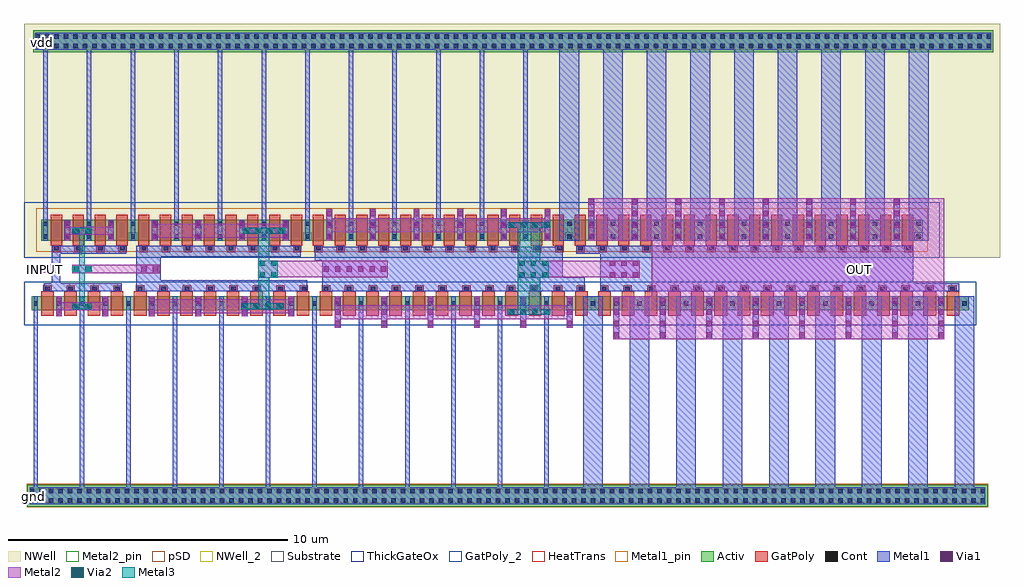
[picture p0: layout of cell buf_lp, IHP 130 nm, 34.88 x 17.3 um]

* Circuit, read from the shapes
.subckt buf_lp INPUT OUT gnd vdd
XM1 n1 INPUT gnd gnd sg13_hv_nmos w=0.5u l=0.45u m=4
XM2 n2 n1 gnd gnd sg13_hv_nmos w=0.5u l=0.45u m=8
XM3 n3 n2 gnd gnd sg13_hv_nmos w=0.5u l=0.45u m=12
XM4 OUT n3 gnd gnd sg13_hv_nmos w=0.5u l=0.45u m=16
XM5 n1 INPUT vdd vdd sg13_hv_pmos w=0.75u l=0.4u m=4
XM6 n2 n1 vdd vdd sg13_hv_pmos w=0.75u l=0.4u m=8
XM7 n3 n2 vdd vdd sg13_hv_pmos w=0.75u l=0.4u m=12
XM8 OUT n3 vdd vdd sg13_hv_pmos w=0.75u l=0.4u m=16
.ends

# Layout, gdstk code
from math import pi, radians
import gdstk
lib = gdstk.Library(unit=1e-6, precision=1e-09)
def R(c, l, rs):  # rectangles x0, y0, x1, y1
    for r in rs: c.add(gdstk.rectangle(r[:2], r[2:], *l))
def A(c, l, x, y, w, h, nx, ny, dx, dy):  # array of equal rectangles
    R(c, l, [(x+i*dx, y+j*dy, x+i*dx+w, y+j*dy+h) for i in range(nx) for j in range(ny)])
Activ = (1, 0)
GatPoly = (5, 0)
GatPoly_2 = (5, 2)
Cont = (6, 0)
Metal1 = (8, 0)
Metal1_pin = (8, 2)
Metal2 = (10, 0)
Metal2_pin = (10, 2)
pSD = (14, 0)
Via1 = (19, 0)
Via2 = (29, 0)
Metal3 = (30, 0)
NWell = (31, 0)
NWell_2 = (31, 2)
Substrate = (40, 0)
ThickGateOx = (44, 0)
HeatTrans = (51, 0)

pmoshv_2 = lib.new_cell('pmosHV$2')
A(pmoshv_2, Activ, 0, 0, 0.3, 0.3, 13, 1, 0.78, 0)
R(pmoshv_2, Activ, [(0,0,9.66,0.75)])
A(pmoshv_2, GatPoly, 0.34, -0.18, 0.4, 1.11, 12, 1, 0.78, 0)
R(pmoshv_2, GatPoly_2, [(0.34,-0.18,0.74,0.93)])
A(pmoshv_2, Cont, 0.07, 0.07, 0.16, 0.16, 13, 2, 0.78, 0.45)
A(pmoshv_2, Metal1, 0.07, 0, 0.16, 0.75, 13, 1, 0.78, 0)
R(pmoshv_2, Metal1_pin, [(0.07,0,0.23,0.75), (0.85,0,1.01,0.75)])
R(pmoshv_2, pSD, [(-0.18,-0.4,9.84,1.15)])
R(pmoshv_2, NWell, [(-0.62,-0.62,10.28,1.37)])
R(pmoshv_2, Substrate, [(9.36,0,9.66,0.3)])
R(pmoshv_2, ThickGateOx, [(-0.62,-0.62,10.28,1.37)])
A(pmoshv_2, HeatTrans, 0.34, -0.18, 0.4, 1.11, 12, 1, 0.78, 0)
pmoshv_2.add(gdstk.Label('pmosHV', (0.54,0.375), layer=63, texttype=0))
pmoshv_2.add(gdstk.Label('pmos', (0.54,0.375), layer=51, texttype=0))
pmoshv_2.add(gdstk.Label('pmos', (1.32,0.375), layer=51, texttype=0))
pmoshv_2.add(gdstk.Label('pmos', (2.1,0.375), layer=51, texttype=0))
pmoshv_2.add(gdstk.Label('pmos', (2.88,0.375), layer=51, texttype=0))
pmoshv_2.add(gdstk.Label('pmos', (3.66,0.375), layer=51, texttype=0))
pmoshv_2.add(gdstk.Label('pmos', (4.44,0.375), layer=51, texttype=0))
pmoshv_2.add(gdstk.Label('pmos', (5.22,0.375), layer=51, texttype=0))
pmoshv_2.add(gdstk.Label('pmos', (6,0.375), layer=51, texttype=0))
pmoshv_2.add(gdstk.Label('pmos', (6.78,0.375), layer=51, texttype=0))
pmoshv_2.add(gdstk.Label('pmos', (7.56,0.375), layer=51, texttype=0))
pmoshv_2.add(gdstk.Label('pmos', (8.34,0.375), layer=51, texttype=0))
pmoshv_2.add(gdstk.Label('pmos', (9.12,0.375), layer=51, texttype=0))

ptap1_9 = lib.new_cell('ptap1$9')
R(ptap1_9, Activ, [(0,0,34.32,0.78)])
A(ptap1_9, Cont, 0.08, 0.14, 0.16, 0.16, 101, 2, 0.34, 0.34)
R(ptap1_9, Metal1, [(0.08,0.09,34.24,0.69), (0.08,0.14,34.24,0.64)])
R(ptap1_9, Metal1_pin, [(0.08,0.14,34.24,0.64)])
R(ptap1_9, pSD, [(-0.03,-0.03,34.35,0.81)])
R(ptap1_9, Substrate, [(0,0,34.32,0.78)])
ptap1_9.add(gdstk.Label('sub!', (17.16,0.01), layer=63, texttype=0))
ptap1_9.add(gdstk.Label('sub!', (17.16,0.01), layer=40, texttype=0))

via_8_1 = lib.new_cell('Via$8$1')
R(via_8_1, Metal2, [(-0.76,-0.1,0.76,0.1)])
A(via_8_1, Via2, -0.71, -0.095, 0.19, 0.19, 4, 1, 0.41, 0)
R(via_8_1, Metal3, [(-0.76,-0.1,0.76,0.1)])

via_15 = lib.new_cell('Via$15')
R(via_15, GatPoly, [(-0.15,-0.15,0.15,0.15)])
R(via_15, Cont, [(-0.08,-0.08,0.08,0.08)])
R(via_15, Metal1, [(-0.13,-0.08,0.13,0.08)])

via_13 = lib.new_cell('Via$13')
R(via_13, Metal2, [(-0.35,-0.305,0.35,0.305)])
R(via_13, Via2, [(-0.3,-0.3,-0.11,-0.11), (0.11,-0.3,0.3,-0.11), (-0.3,0.11,-0.11,0.3), (0.11,0.11,0.3,0.3)])
R(via_13, Metal3, [(-0.35,-0.305,0.35,0.305)])

via_12 = lib.new_cell('Via$12')
R(via_12, Metal1, [(-0.555,-0.31,0.555,0.31)])
R(via_12, Metal2, [(-0.555,-0.305,0.555,0.305)])
A(via_12, Via1, -0.505, -0.3, 0.19, 0.19, 3, 2, 0.41, 0.41)

via_14 = lib.new_cell('Via$14')
R(via_14, Metal2, [(-0.555,-0.305,0.555,0.305)])
A(via_14, Via2, -0.505, -0.3, 0.19, 0.19, 3, 2, 0.41, 0.41)
R(via_14, Metal3, [(-0.555,-0.305,0.555,0.305)])

nmoshv_1 = lib.new_cell('nmosHV$1')
A(nmoshv_1, Activ, 0, 0, 0.3, 0.3, 13, 1, 0.83, 0)
R(nmoshv_1, Activ, [(0,0,10.26,0.5)])
A(nmoshv_1, GatPoly, 0.34, -0.18, 0.45, 0.86, 12, 1, 0.83, 0)
R(nmoshv_1, GatPoly_2, [(0.34,-0.18,0.79,0.68)])
A(nmoshv_1, Cont, 0.07, 0.17, 0.16, 0.16, 13, 1, 0.83, 0)
A(nmoshv_1, Metal1, 0.07, 0, 0.16, 0.5, 13, 1, 0.83, 0)
R(nmoshv_1, Metal1_pin, [(0.07,0,0.23,0.5), (0.9,0,1.06,0.5)])
R(nmoshv_1, ThickGateOx, [(-0.27,-0.52,10.53,1.02)])
A(nmoshv_1, HeatTrans, 0.34, -0.18, 0.45, 0.86, 12, 1, 0.83, 0)
nmoshv_1.add(gdstk.Label('nmosHV', (0.565,0.25), layer=63, texttype=0))
nmoshv_1.add(gdstk.Label('nmosHV', (0.565,0.25), layer=51, texttype=0))
nmoshv_1.add(gdstk.Label('nmosHV', (1.395,0.25), layer=51, texttype=0))
nmoshv_1.add(gdstk.Label('nmosHV', (2.225,0.25), layer=51, texttype=0))
nmoshv_1.add(gdstk.Label('nmosHV', (3.055,0.25), layer=51, texttype=0))
nmoshv_1.add(gdstk.Label('nmosHV', (3.885,0.25), layer=51, texttype=0))
nmoshv_1.add(gdstk.Label('nmosHV', (4.715,0.25), layer=51, texttype=0))
nmoshv_1.add(gdstk.Label('nmosHV', (5.545,0.25), layer=51, texttype=0))
nmoshv_1.add(gdstk.Label('nmosHV', (6.375,0.25), layer=51, texttype=0))
nmoshv_1.add(gdstk.Label('nmosHV', (7.205,0.25), layer=51, texttype=0))
nmoshv_1.add(gdstk.Label('nmosHV', (8.035,0.25), layer=51, texttype=0))
nmoshv_1.add(gdstk.Label('nmosHV', (8.865,0.25), layer=51, texttype=0))
nmoshv_1.add(gdstk.Label('nmosHV', (9.695,0.25), layer=51, texttype=0))

ntap1_5 = lib.new_cell('ntap1$5')
R(ntap1_5, Activ, [(0,0,34.32,0.78)])
A(ntap1_5, Cont, 0.08, 0.14, 0.16, 0.16, 101, 2, 0.34, 0.34)
R(ntap1_5, Metal1, [(0.08,0.09,34.24,0.69)])
R(ntap1_5, Metal1_pin, [(0.08,0.09,34.24,0.69), (0.08,0.14,34.24,0.64)])
R(ntap1_5, NWell, [(-0.24,-0.24,34.56,1.02), (0,0,34.32,0.78)])
R(ntap1_5, NWell_2, [(0,0,34.32,0.78)])
ntap1_5.add(gdstk.Label('well', (17.16,0.01), layer=63, texttype=0))
ntap1_5.add(gdstk.Label('well', (17.16,0.01), layer=31, texttype=0))

via_7 = lib.new_cell('Via$7')
R(via_7, Metal1, [(-0.76,-0.105,0.76,0.105)])
R(via_7, Metal2, [(-0.76,-0.1,0.76,0.1)])
A(via_7, Via1, -0.71, -0.095, 0.19, 0.19, 4, 1, 0.41, 0)

via_4 = lib.new_cell('Via$4')
R(via_4, Metal1, [(-0.555,-0.105,0.555,0.105)])
R(via_4, Metal2, [(-0.555,-0.1,0.555,0.1)])
A(via_4, Via1, -0.505, -0.095, 0.19, 0.19, 3, 1, 0.41, 0)

pmoshv_5 = lib.new_cell('pmosHV$5')
A(pmoshv_5, Activ, 0, 0, 0.3, 0.3, 17, 1, 0.78, 0)
R(pmoshv_5, Activ, [(0,0,12.78,0.75)])
A(pmoshv_5, GatPoly, 0.34, -0.18, 0.4, 1.11, 16, 1, 0.78, 0)
R(pmoshv_5, GatPoly_2, [(0.34,-0.18,0.74,0.93)])
A(pmoshv_5, Cont, 0.07, 0.07, 0.16, 0.16, 17, 2, 0.78, 0.45)
A(pmoshv_5, Metal1, 0.07, 0, 0.16, 0.75, 17, 1, 0.78, 0)
R(pmoshv_5, Metal1_pin, [(0.07,0,0.23,0.75), (0.85,0,1.01,0.75)])
R(pmoshv_5, pSD, [(-0.18,-0.4,12.96,1.15)])
R(pmoshv_5, NWell, [(-0.62,-0.62,13.4,1.37)])
R(pmoshv_5, Substrate, [(12.48,0,12.78,0.3)])
R(pmoshv_5, ThickGateOx, [(-0.62,-0.62,13.4,1.37)])
A(pmoshv_5, HeatTrans, 0.34, -0.18, 0.4, 1.11, 16, 1, 0.78, 0)
pmoshv_5.add(gdstk.Label('pmosHV', (0.54,0.375), layer=63, texttype=0))
pmoshv_5.add(gdstk.Label('pmos', (0.54,0.375), layer=51, texttype=0))
pmoshv_5.add(gdstk.Label('pmos', (1.32,0.375), layer=51, texttype=0))
pmoshv_5.add(gdstk.Label('pmos', (2.1,0.375), layer=51, texttype=0))
pmoshv_5.add(gdstk.Label('pmos', (2.88,0.375), layer=51, texttype=0))
pmoshv_5.add(gdstk.Label('pmos', (3.66,0.375), layer=51, texttype=0))
pmoshv_5.add(gdstk.Label('pmos', (4.44,0.375), layer=51, texttype=0))
pmoshv_5.add(gdstk.Label('pmos', (5.22,0.375), layer=51, texttype=0))
pmoshv_5.add(gdstk.Label('pmos', (6,0.375), layer=51, texttype=0))
pmoshv_5.add(gdstk.Label('pmos', (6.78,0.375), layer=51, texttype=0))
pmoshv_5.add(gdstk.Label('pmos', (7.56,0.375), layer=51, texttype=0))
pmoshv_5.add(gdstk.Label('pmos', (8.34,0.375), layer=51, texttype=0))
pmoshv_5.add(gdstk.Label('pmos', (9.12,0.375), layer=51, texttype=0))
pmoshv_5.add(gdstk.Label('pmos', (9.9,0.375), layer=51, texttype=0))
pmoshv_5.add(gdstk.Label('pmos', (10.68,0.375), layer=51, texttype=0))
pmoshv_5.add(gdstk.Label('pmos', (11.46,0.375), layer=51, texttype=0))
pmoshv_5.add(gdstk.Label('pmos', (12.24,0.375), layer=51, texttype=0))

via_3_1 = lib.new_cell('Via$3$1')
R(via_3_1, Metal1, [(-0.35,-0.105,0.35,0.105)])
R(via_3_1, Metal2, [(-0.35,-0.1,0.35,0.1)])
R(via_3_1, Via1, [(-0.3,-0.095,-0.11,0.095), (0.11,-0.095,0.3,0.095)])

pmoshv = lib.new_cell('pmosHV')
A(pmoshv, Activ, 0, 0, 0.3, 0.3, 5, 1, 0.78, 0)
R(pmoshv, Activ, [(0,0,3.42,0.75)])
A(pmoshv, GatPoly, 0.34, -0.18, 0.4, 1.11, 4, 1, 0.78, 0)
R(pmoshv, GatPoly_2, [(0.34,-0.18,0.74,0.93)])
A(pmoshv, Cont, 0.07, 0.07, 0.16, 0.16, 5, 2, 0.78, 0.45)
A(pmoshv, Metal1, 0.07, 0, 0.16, 0.75, 5, 1, 0.78, 0)
R(pmoshv, Metal1_pin, [(0.07,0,0.23,0.75), (0.85,0,1.01,0.75)])
R(pmoshv, pSD, [(-0.18,-0.4,3.6,1.15)])
R(pmoshv, NWell, [(-0.62,-0.62,4.04,1.37)])
R(pmoshv, Substrate, [(3.12,0,3.42,0.3)])
R(pmoshv, ThickGateOx, [(-0.62,-0.62,4.04,1.37)])
A(pmoshv, HeatTrans, 0.34, -0.18, 0.4, 1.11, 4, 1, 0.78, 0)
pmoshv.add(gdstk.Label('pmosHV', (0.54,0.375), layer=63, texttype=0))
pmoshv.add(gdstk.Label('pmos', (0.54,0.375), layer=51, texttype=0))
pmoshv.add(gdstk.Label('pmos', (1.32,0.375), layer=51, texttype=0))
pmoshv.add(gdstk.Label('pmos', (2.1,0.375), layer=51, texttype=0))
pmoshv.add(gdstk.Label('pmos', (2.88,0.375), layer=51, texttype=0))

via_6 = lib.new_cell('Via$6')
R(via_6, Metal2, [(-0.35,-0.1,0.35,0.1)])
R(via_6, Via2, [(-0.3,-0.095,-0.11,0.095), (0.11,-0.095,0.3,0.095)])
R(via_6, Metal3, [(-0.35,-0.1,0.35,0.1)])

pmoshv_7 = lib.new_cell('pmosHV$7')
A(pmoshv_7, Activ, 0, 0, 0.3, 0.3, 9, 1, 0.78, 0)
R(pmoshv_7, Activ, [(0,0,6.54,0.75)])
A(pmoshv_7, GatPoly, 0.34, -0.18, 0.4, 1.11, 8, 1, 0.78, 0)
R(pmoshv_7, GatPoly_2, [(0.34,-0.18,0.74,0.93)])
A(pmoshv_7, Cont, 0.07, 0.07, 0.16, 0.16, 9, 2, 0.78, 0.45)
A(pmoshv_7, Metal1, 0.07, 0, 0.16, 0.75, 9, 1, 0.78, 0)
R(pmoshv_7, Metal1_pin, [(0.07,0,0.23,0.75), (0.85,0,1.01,0.75)])
R(pmoshv_7, pSD, [(-0.18,-0.4,6.72,1.15)])
R(pmoshv_7, NWell, [(-0.62,-0.62,7.16,1.37)])
R(pmoshv_7, Substrate, [(6.24,0,6.54,0.3)])
R(pmoshv_7, ThickGateOx, [(-0.62,-0.62,7.16,1.37)])
A(pmoshv_7, HeatTrans, 0.34, -0.18, 0.4, 1.11, 8, 1, 0.78, 0)
pmoshv_7.add(gdstk.Label('pmosHV', (0.54,0.375), layer=63, texttype=0))
pmoshv_7.add(gdstk.Label('pmos', (0.54,0.375), layer=51, texttype=0))
pmoshv_7.add(gdstk.Label('pmos', (1.32,0.375), layer=51, texttype=0))
pmoshv_7.add(gdstk.Label('pmos', (2.1,0.375), layer=51, texttype=0))
pmoshv_7.add(gdstk.Label('pmos', (2.88,0.375), layer=51, texttype=0))
pmoshv_7.add(gdstk.Label('pmos', (3.66,0.375), layer=51, texttype=0))
pmoshv_7.add(gdstk.Label('pmos', (4.44,0.375), layer=51, texttype=0))
pmoshv_7.add(gdstk.Label('pmos', (5.22,0.375), layer=51, texttype=0))
pmoshv_7.add(gdstk.Label('pmos', (6,0.375), layer=51, texttype=0))

nmoshv_5 = lib.new_cell('nmosHV$5')
A(nmoshv_5, Activ, 0, 0, 0.3, 0.3, 9, 1, 0.83, 0)
R(nmoshv_5, Activ, [(0,0,6.94,0.5)])
A(nmoshv_5, GatPoly, 0.34, -0.18, 0.45, 0.86, 8, 1, 0.83, 0)
R(nmoshv_5, GatPoly_2, [(0.34,-0.18,0.79,0.68)])
A(nmoshv_5, Cont, 0.07, 0.17, 0.16, 0.16, 9, 1, 0.83, 0)
A(nmoshv_5, Metal1, 0.07, 0, 0.16, 0.5, 9, 1, 0.83, 0)
R(nmoshv_5, Metal1_pin, [(0.07,0,0.23,0.5), (0.9,0,1.06,0.5)])
R(nmoshv_5, ThickGateOx, [(-0.27,-0.52,7.21,1.02)])
A(nmoshv_5, HeatTrans, 0.34, -0.18, 0.45, 0.86, 8, 1, 0.83, 0)
nmoshv_5.add(gdstk.Label('nmosHV', (0.565,0.25), layer=63, texttype=0))
nmoshv_5.add(gdstk.Label('nmosHV', (0.565,0.25), layer=51, texttype=0))
nmoshv_5.add(gdstk.Label('nmosHV', (1.395,0.25), layer=51, texttype=0))
nmoshv_5.add(gdstk.Label('nmosHV', (2.225,0.25), layer=51, texttype=0))
nmoshv_5.add(gdstk.Label('nmosHV', (3.055,0.25), layer=51, texttype=0))
nmoshv_5.add(gdstk.Label('nmosHV', (3.885,0.25), layer=51, texttype=0))
nmoshv_5.add(gdstk.Label('nmosHV', (4.715,0.25), layer=51, texttype=0))
nmoshv_5.add(gdstk.Label('nmosHV', (5.545,0.25), layer=51, texttype=0))
nmoshv_5.add(gdstk.Label('nmosHV', (6.375,0.25), layer=51, texttype=0))

via_9_1 = lib.new_cell('Via$9$1')
R(via_9_1, Metal1, [(-0.35,-0.105,0.35,0.105)])
R(via_9_1, Metal2, [(-0.35,-0.1,0.35,0.1)])
R(via_9_1, Via1, [(-0.3,-0.095,-0.11,0.095), (0.11,-0.095,0.3,0.095)])

via_10_1 = lib.new_cell('Via$10$1')
R(via_10_1, Metal1, [(-1.17,-0.105,1.17,0.105)])
R(via_10_1, Metal2, [(-1.17,-0.1,1.17,0.1)])
A(via_10_1, Via1, -1.12, -0.095, 0.19, 0.19, 6, 1, 0.41, 0)

nmoshv = lib.new_cell('nmosHV')
A(nmoshv, Activ, 0, 0, 0.3, 0.3, 5, 1, 0.83, 0)
R(nmoshv, Activ, [(0,0,3.62,0.5)])
A(nmoshv, GatPoly, 0.34, -0.18, 0.45, 0.86, 4, 1, 0.83, 0)
R(nmoshv, GatPoly_2, [(0.34,-0.18,0.79,0.68)])
A(nmoshv, Cont, 0.07, 0.17, 0.16, 0.16, 5, 1, 0.83, 0)
A(nmoshv, Metal1, 0.07, 0, 0.16, 0.5, 5, 1, 0.83, 0)
R(nmoshv, Metal1_pin, [(0.07,0,0.23,0.5), (0.9,0,1.06,0.5)])
R(nmoshv, ThickGateOx, [(-0.27,-0.52,3.89,1.02)])
A(nmoshv, HeatTrans, 0.34, -0.18, 0.45, 0.86, 4, 1, 0.83, 0)
nmoshv.add(gdstk.Label('nmosHV', (0.565,0.25), layer=63, texttype=0))
nmoshv.add(gdstk.Label('nmosHV', (0.565,0.25), layer=51, texttype=0))
nmoshv.add(gdstk.Label('nmosHV', (1.395,0.25), layer=51, texttype=0))
nmoshv.add(gdstk.Label('nmosHV', (2.225,0.25), layer=51, texttype=0))
nmoshv.add(gdstk.Label('nmosHV', (3.055,0.25), layer=51, texttype=0))

nmoshv_3 = lib.new_cell('nmosHV$3')
A(nmoshv_3, Activ, 0, 0, 0.3, 0.3, 17, 1, 0.83, 0)
R(nmoshv_3, Activ, [(0,0,13.58,0.5)])
A(nmoshv_3, GatPoly, 0.34, -0.18, 0.45, 0.86, 16, 1, 0.83, 0)
R(nmoshv_3, GatPoly_2, [(0.34,-0.18,0.79,0.68)])
A(nmoshv_3, Cont, 0.07, 0.17, 0.16, 0.16, 17, 1, 0.83, 0)
A(nmoshv_3, Metal1, 0.07, 0, 0.16, 0.5, 17, 1, 0.83, 0)
R(nmoshv_3, Metal1_pin, [(0.07,0,0.23,0.5), (0.9,0,1.06,0.5)])
R(nmoshv_3, ThickGateOx, [(-0.27,-0.52,13.85,1.02)])
A(nmoshv_3, HeatTrans, 0.34, -0.18, 0.45, 0.86, 16, 1, 0.83, 0)
nmoshv_3.add(gdstk.Label('nmosHV', (0.565,0.25), layer=63, texttype=0))
nmoshv_3.add(gdstk.Label('nmosHV', (0.565,0.25), layer=51, texttype=0))
nmoshv_3.add(gdstk.Label('nmosHV', (1.395,0.25), layer=51, texttype=0))
nmoshv_3.add(gdstk.Label('nmosHV', (2.225,0.25), layer=51, texttype=0))
nmoshv_3.add(gdstk.Label('nmosHV', (3.055,0.25), layer=51, texttype=0))
nmoshv_3.add(gdstk.Label('nmosHV', (3.885,0.25), layer=51, texttype=0))
nmoshv_3.add(gdstk.Label('nmosHV', (4.715,0.25), layer=51, texttype=0))
nmoshv_3.add(gdstk.Label('nmosHV', (5.545,0.25), layer=51, texttype=0))
nmoshv_3.add(gdstk.Label('nmosHV', (6.375,0.25), layer=51, texttype=0))
nmoshv_3.add(gdstk.Label('nmosHV', (7.205,0.25), layer=51, texttype=0))
nmoshv_3.add(gdstk.Label('nmosHV', (8.035,0.25), layer=51, texttype=0))
nmoshv_3.add(gdstk.Label('nmosHV', (8.865,0.25), layer=51, texttype=0))
nmoshv_3.add(gdstk.Label('nmosHV', (9.695,0.25), layer=51, texttype=0))
nmoshv_3.add(gdstk.Label('nmosHV', (10.525,0.25), layer=51, texttype=0))
nmoshv_3.add(gdstk.Label('nmosHV', (11.355,0.25), layer=51, texttype=0))
nmoshv_3.add(gdstk.Label('nmosHV', (12.185,0.25), layer=51, texttype=0))
nmoshv_3.add(gdstk.Label('nmosHV', (13.015,0.25), layer=51, texttype=0))

buf_lp = lib.new_cell('buf_lp')
R(buf_lp, Metal1, [(17.22,13.48,18.09,15.12), (17.35,13.48,18.06,15.12), (33.79,13.78,44.98,14.82), (23.86,13.935,32.465,14.57)])
R(buf_lp, Metal1_pin, [(13.425,6.05,13.625,6.25), (13.76,22.29,13.96,22.49)])
R(buf_lp, Metal2, [(34.27,11.78,46.09,13.3), (35.635,13.3,46.09,16.82), (33.37,15.3,35.635,16.82)])
R(buf_lp, Metal2_pin, [(13.82,14.18,14.02,14.38), (42.99,14.21,43.12,14.34)])
R(buf_lp, NWell, [(13.2,14.68,48.085,23.055)])
buf_lp.add(gdstk.FlexPath([(45.18,15.3),(45.18,22.58)], 0.7, ends="flush", simple_path=True, layer=8, datatype=0))  # Metal1
buf_lp.add(gdstk.FlexPath([(45.16,13.3),(45.16,6.29)], 0.7, ends="flush", simple_path=True, layer=8, datatype=0))  # Metal1
buf_lp.add(gdstk.FlexPath([(14.35,15.12),(14.35,13.48)], 0.3, ends="flush", simple_path=True, layer=8, datatype=0))  # Metal1
buf_lp.add(gdstk.FlexPath([(32.94,14.97),(44.98,14.97)], 0.3, ends="flush", simple_path=True, layer=8, datatype=0))  # Metal1
buf_lp.add(gdstk.FlexPath([(32.69,15.3),(32.69,22.58)], 0.7, ends="flush", simple_path=True, layer=8, datatype=0))  # Metal1
buf_lp.add(gdstk.FlexPath([(33.79,13.63),(46.63,13.63)], 0.3, ends="flush", simple_path=True, layer=8, datatype=0))  # Metal1
buf_lp.add(gdstk.FlexPath([(34.25,15.3),(34.25,22.58)], 0.7, ends="flush", simple_path=True, layer=8, datatype=0))  # Metal1
buf_lp.add(gdstk.FlexPath([(42.87,16.065),(42.87,16.065)], 0.3, ends="flush", simple_path=True, layer=8, datatype=0))  # Metal1
buf_lp.add(gdstk.FlexPath([(41.3,16.065),(41.3,16.065)], 0.3, ends="flush", simple_path=True, layer=8, datatype=0))  # Metal1
buf_lp.add(gdstk.FlexPath([(39.75,16.065),(39.75,16.065)], 0.3, ends="flush", simple_path=True, layer=8, datatype=0))  # Metal1
buf_lp.add(gdstk.FlexPath([(38.15,16.065),(38.15,16.065)], 0.3, ends="flush", simple_path=True, layer=8, datatype=0))  # Metal1
buf_lp.add(gdstk.FlexPath([(36.63,16.065),(36.63,16.065)], 0.3, ends="flush", simple_path=True, layer=8, datatype=0))  # Metal1
buf_lp.add(gdstk.FlexPath([(23.59,14.82),(32.465,14.82)], 0.5, ends="flush", simple_path=True, layer=8, datatype=0))  # Metal1
buf_lp.add(gdstk.FlexPath([(33.54,13.3),(33.54,6.29)], 0.7, ends="flush", simple_path=True, layer=8, datatype=0))  # Metal1
buf_lp.add(gdstk.FlexPath([(35.2,13.3),(35.2,6.29)], 0.7, ends="flush", simple_path=True, layer=8, datatype=0))  # Metal1
buf_lp.add(gdstk.FlexPath([(35.06,16.065),(35.06,16.065)], 0.3, ends="flush", simple_path=True, layer=8, datatype=0))  # Metal1
buf_lp.add(gdstk.FlexPath([(33.5,16.065),(33.5,16.065)], 0.3, ends="flush", simple_path=True, layer=8, datatype=0))  # Metal1
buf_lp.add(gdstk.FlexPath([(14.44,12.95),(14.44,12.95)], 0.3, ends="flush", simple_path=True, layer=8, datatype=0))  # Metal1
buf_lp.add(gdstk.FlexPath([(16.1,12.95),(16.1,12.95)], 0.3, ends="flush", simple_path=True, layer=8, datatype=0))  # Metal1
buf_lp.add(gdstk.FlexPath([(17.76,12.95),(17.76,12.95)], 0.3, ends="flush", simple_path=True, layer=8, datatype=0))  # Metal1
buf_lp.add(gdstk.FlexPath([(19.42,12.95),(19.42,12.95)], 0.3, ends="flush", simple_path=True, layer=8, datatype=0))  # Metal1
buf_lp.add(gdstk.FlexPath([(21.08,12.95),(21.08,12.95)], 0.3, ends="flush", simple_path=True, layer=8, datatype=0))  # Metal1
buf_lp.add(gdstk.FlexPath([(22.74,12.95),(22.74,12.95)], 0.3, ends="flush", simple_path=True, layer=8, datatype=0))  # Metal1
buf_lp.add(gdstk.FlexPath([(43.61,15.3),(43.61,22.58)], 0.7, ends="flush", simple_path=True, layer=8, datatype=0))  # Metal1
buf_lp.add(gdstk.FlexPath([(44.42,16.065),(44.42,16.065)], 0.3, ends="flush", simple_path=True, layer=8, datatype=0))  # Metal1
buf_lp.add(gdstk.FlexPath([(42.05,15.3),(42.05,22.58)], 0.7, ends="flush", simple_path=True, layer=8, datatype=0))  # Metal1
buf_lp.add(gdstk.FlexPath([(35.81,15.3),(35.81,22.58)], 0.7, ends="flush", simple_path=True, layer=8, datatype=0))  # Metal1
buf_lp.add(gdstk.FlexPath([(38.93,15.3),(38.93,22.58)], 0.7, ends="flush", simple_path=True, layer=8, datatype=0))  # Metal1
buf_lp.add(gdstk.FlexPath([(37.37,15.3),(37.37,22.58)], 0.7, ends="flush", simple_path=True, layer=8, datatype=0))  # Metal1
buf_lp.add(gdstk.FlexPath([(32.69,15.3),(32.69,22.58)], 0.16, ends="flush", simple_path=True, layer=8, datatype=0))  # Metal1
buf_lp.add(gdstk.FlexPath([(31.13,15.3),(31.13,22.58)], 0.16, ends="flush", simple_path=True, layer=8, datatype=0))  # Metal1
buf_lp.add(gdstk.FlexPath([(29.57,15.3),(29.57,22.58)], 0.16, ends="flush", simple_path=True, layer=8, datatype=0))  # Metal1
buf_lp.add(gdstk.FlexPath([(28.01,15.3),(28.01,22.58)], 0.16, ends="flush", simple_path=True, layer=8, datatype=0))  # Metal1
buf_lp.add(gdstk.FlexPath([(26.45,15.3),(26.45,22.58)], 0.16, ends="flush", simple_path=True, layer=8, datatype=0))  # Metal1
buf_lp.add(gdstk.FlexPath([(24.89,15.3),(24.89,22.58)], 0.16, ends="flush", simple_path=True, layer=8, datatype=0))  # Metal1
buf_lp.add(gdstk.FlexPath([(23.33,15.3),(23.33,22.58)], 0.16, ends="flush", simple_path=True, layer=8, datatype=0))  # Metal1
buf_lp.add(gdstk.FlexPath([(21.77,15.975),(21.77,22.58)], 0.16, ends="flush", simple_path=True, layer=8, datatype=0))  # Metal1
buf_lp.add(gdstk.FlexPath([(20.21,15.62),(20.21,22.58)], 0.16, ends="flush", simple_path=True, layer=8, datatype=0))  # Metal1
buf_lp.add(gdstk.FlexPath([(18.65,15.395),(18.65,22.58)], 0.16, ends="flush", simple_path=True, layer=8, datatype=0))  # Metal1
buf_lp.add(gdstk.FlexPath([(17.09,15.575),(17.09,22.58)], 0.16, ends="flush", simple_path=True, layer=8, datatype=0))  # Metal1
buf_lp.add(gdstk.FlexPath([(15.53,15.405),(15.53,22.58)], 0.16, ends="flush", simple_path=True, layer=8, datatype=0))  # Metal1
buf_lp.add(gdstk.FlexPath([(27.23,15.86),(27.23,15.86)], 0.3, ends="flush", simple_path=True, layer=8, datatype=0))  # Metal1
buf_lp.add(gdstk.FlexPath([(25.67,15.86),(25.67,15.86)], 0.3, ends="flush", simple_path=True, layer=8, datatype=0))  # Metal1
buf_lp.add(gdstk.FlexPath([(28.79,15.86),(28.79,15.86)], 0.3, ends="flush", simple_path=True, layer=8, datatype=0))  # Metal1
buf_lp.add(gdstk.FlexPath([(30.35,15.86),(30.35,15.86)], 0.3, ends="flush", simple_path=True, layer=8, datatype=0))  # Metal1
buf_lp.add(gdstk.FlexPath([(31.91,15.86),(31.91,15.86)], 0.3, ends="flush", simple_path=True, layer=8, datatype=0))  # Metal1
buf_lp.add(gdstk.FlexPath([(20.99,15.65),(20.99,15.65)], 0.3, ends="flush", simple_path=True, layer=8, datatype=0))  # Metal1
buf_lp.add(gdstk.FlexPath([(14.225,14.97),(16.85,14.97)], 0.3, ends="flush", simple_path=True, layer=8, datatype=0))  # Metal1
buf_lp.add(gdstk.FlexPath([(13.97,15.82),(13.97,22.58)], 0.16, ends="flush", simple_path=True, layer=8, datatype=0))  # Metal1
buf_lp.add(gdstk.FlexPath([(19.43,15.65),(19.43,15.65)], 0.3, ends="flush", simple_path=True, layer=8, datatype=0))  # Metal1
buf_lp.add(gdstk.FlexPath([(22.55,15.65),(22.55,15.65)], 0.3, ends="flush", simple_path=True, layer=8, datatype=0))  # Metal1
buf_lp.add(gdstk.FlexPath([(34.25,15.3),(34.25,22.58)], 0.16, ends="flush", simple_path=True, layer=8, datatype=0))  # Metal1
buf_lp.add(gdstk.FlexPath([(40.49,15.3),(40.49,22.58)], 0.7, ends="flush", simple_path=True, layer=8, datatype=0))  # Metal1
buf_lp.add(gdstk.FlexPath([(17.35,14.92),(23.095,14.92)], 0.4, ends="flush", simple_path=True, layer=8, datatype=0))  # Metal1
buf_lp.add(gdstk.FlexPath([(40.18,13.3),(40.18,6.29)], 0.7, ends="flush", simple_path=True, layer=8, datatype=0))  # Metal1
buf_lp.add(gdstk.FlexPath([(38.52,13.3),(38.52,6.29)], 0.7, ends="flush", simple_path=True, layer=8, datatype=0))  # Metal1
buf_lp.add(gdstk.FlexPath([(36.86,13.3),(36.86,6.29)], 0.7, ends="flush", simple_path=True, layer=8, datatype=0))  # Metal1
buf_lp.add(gdstk.FlexPath([(33.54,13.3),(33.54,6.29)], 0.16, ends="flush", simple_path=True, layer=8, datatype=0))  # Metal1
buf_lp.add(gdstk.FlexPath([(31.88,13.3),(31.88,6.29)], 0.16, ends="flush", simple_path=True, layer=8, datatype=0))  # Metal1
buf_lp.add(gdstk.FlexPath([(30.22,13.3),(30.22,6.29)], 0.16, ends="flush", simple_path=True, layer=8, datatype=0))  # Metal1
buf_lp.add(gdstk.FlexPath([(28.56,13.3),(28.56,6.29)], 0.16, ends="flush", simple_path=True, layer=8, datatype=0))  # Metal1
buf_lp.add(gdstk.FlexPath([(26.9,13.3),(26.9,6.29)], 0.16, ends="flush", simple_path=True, layer=8, datatype=0))  # Metal1
buf_lp.add(gdstk.FlexPath([(25.24,13.3),(25.24,6.29)], 0.16, ends="flush", simple_path=True, layer=8, datatype=0))  # Metal1
buf_lp.add(gdstk.FlexPath([(23.58,13.3),(23.58,6.29)], 0.16, ends="flush", simple_path=True, layer=8, datatype=0))  # Metal1
buf_lp.add(gdstk.FlexPath([(21.92,13.3),(21.92,6.29)], 0.16, ends="flush", simple_path=True, layer=8, datatype=0))  # Metal1
buf_lp.add(gdstk.FlexPath([(13.91,13.63),(16.7,13.63)], 0.3, ends="flush", simple_path=True, layer=8, datatype=0))  # Metal1
buf_lp.add(gdstk.FlexPath([(20.26,13.3),(20.26,6.29)], 0.16, ends="flush", simple_path=True, layer=8, datatype=0))  # Metal1
buf_lp.add(gdstk.FlexPath([(18.6,13.3),(18.6,6.29)], 0.16, ends="flush", simple_path=True, layer=8, datatype=0))  # Metal1
buf_lp.add(gdstk.FlexPath([(16.94,13.3),(16.94,6.29)], 0.16, ends="flush", simple_path=True, layer=8, datatype=0))  # Metal1
buf_lp.add(gdstk.FlexPath([(15.28,13.3),(15.28,6.29)], 0.16, ends="flush", simple_path=True, layer=8, datatype=0))  # Metal1
buf_lp.add(gdstk.FlexPath([(13.62,13.3),(13.62,6.29)], 0.16, ends="flush", simple_path=True, layer=8, datatype=0))  # Metal1
buf_lp.add(gdstk.FlexPath([(35.2,13.3),(35.2,6.29)], 0.16, ends="flush", simple_path=True, layer=8, datatype=0))  # Metal1
buf_lp.add(gdstk.FlexPath([(23.86,13.73),(33.24,13.73)], 0.5, ends="flush", simple_path=True, layer=8, datatype=0))  # Metal1
buf_lp.add(gdstk.FlexPath([(43.5,13.3),(43.5,6.29)], 0.7, ends="flush", simple_path=True, layer=8, datatype=0))  # Metal1
buf_lp.add(gdstk.FlexPath([(17.22,13.68),(23.33,13.68)], 0.4, ends="flush", simple_path=True, layer=8, datatype=0))  # Metal1
buf_lp.add(gdstk.FlexPath([(41.84,13.3),(41.84,6.29)], 0.7, ends="flush", simple_path=True, layer=8, datatype=0))  # Metal1
buf_lp.add(gdstk.FlexPath([(46.815,13.3),(46.815,6.29)], 0.7, ends="flush", simple_path=True, layer=8, datatype=0))  # Metal1
buf_lp.add(gdstk.FlexPath([(16.31,15.65),(16.31,15.65)], 0.3, ends="flush", simple_path=True, layer=8, datatype=0))  # Metal1
buf_lp.add(gdstk.FlexPath([(14.74,15.65),(14.74,15.65)], 0.3, ends="flush", simple_path=True, layer=8, datatype=0))  # Metal1
buf_lp.add(gdstk.FlexPath([(38.18,16.065),(38.18,16.065)], 0.3, ends="flush", simple_path=True, layer=10, datatype=0))  # Metal2
buf_lp.add(gdstk.FlexPath([(31.99,15.85),(24.005,15.85)], 0.5, ends="flush", simple_path=True, layer=10, datatype=0))  # Metal2
buf_lp.add(gdstk.FlexPath([(14.35,12.95),(16.21,12.95)], 0.3, ends="flush", simple_path=True, layer=10, datatype=0))  # Metal2
buf_lp.add(gdstk.FlexPath([(17.77,12.95),(22.75,12.95),(22.75,12.95)], 0.5, ends="flush", simple_path=True, layer=10, datatype=0))  # Metal2
buf_lp.add(gdstk.FlexPath([(17.87,15.65),(22.55,15.65),(22.55,15.65)], 0.5, ends="flush", simple_path=True, layer=10, datatype=0))  # Metal2
buf_lp.add(gdstk.FlexPath([(32.805,12.74),(24.315,12.74)], 0.5, ends="flush", simple_path=True, layer=10, datatype=0))  # Metal2
buf_lp.add(gdstk.FlexPath([(33.47,16.06),(44.39,16.06),(44.39,16.06)], 0.8, ends="flush", simple_path=True, layer=10, datatype=0))  # Metal2
buf_lp.add(gdstk.FlexPath([(14.93,14.28),(18.045,14.28)], 0.3, ends="flush", simple_path=True, layer=10, datatype=0))  # Metal2
buf_lp.add(gdstk.FlexPath([(21.57,14.28),(26.2,14.28)], 0.6, ends="flush", simple_path=True, layer=10, datatype=0))  # Metal2
buf_lp.add(gdstk.FlexPath([(31.83,14.28),(35.155,14.28),(35.155,14.28)], 0.6, ends="flush", simple_path=True, layer=10, datatype=0))  # Metal2
buf_lp.add(gdstk.FlexPath([(44.42,16.065),(44.42,16.065)], 0.3, ends="flush", simple_path=True, layer=10, datatype=0))  # Metal2
buf_lp.add(gdstk.FlexPath([(14.5,14.3),(13.8,14.3)], 0.3, ends="flush", simple_path=True, layer=10, datatype=0))  # Metal2
buf_lp.add(gdstk.FlexPath([(14.74,15.65),(16.31,15.65)], 0.3, ends="flush", simple_path=True, layer=10, datatype=0))  # Metal2
buf_lp.add(gdstk.FlexPath([(31.89,15.98),(31.89,15.98)], 0.3, ends="flush", simple_path=True, layer=10, datatype=0))  # Metal2
buf_lp.add(gdstk.FlexPath([(15.28,12.945),(15.28,15.65)], 0.2, ends="flush", simple_path=True, layer=30, datatype=0))  # Metal3
buf_lp.add(gdstk.FlexPath([(21.77,15.65),(21.77,12.935)], 0.4, ends="flush", simple_path=True, layer=30, datatype=0))  # Metal3
buf_lp.add(gdstk.FlexPath([(31.25,15.85),(31.25,12.72)], 0.8, ends="flush", simple_path=True, layer=30, datatype=0))  # Metal3
buf_lp.add(gdstk.Reference(pmoshv_2, (23.18,15.3)))
buf_lp.add(gdstk.Reference(ptap1_9, (47.64,6.57), rotation=pi))
buf_lp.add(gdstk.Reference(via_8_1, (31.25,15.85)))
buf_lp.add(gdstk.Reference(via_15, (30.76,15.04)))
buf_lp.add(gdstk.Reference(via_8_1, (31.25,12.745)))
buf_lp.add(gdstk.Reference(via_15, (30.6,13.56)))
buf_lp.add(gdstk.Reference(via_13, (21.92,14.28)))
buf_lp.add(gdstk.Reference(via_12, (34.645,14.28)))
buf_lp.add(gdstk.Reference(via_14, (31.405,14.28)))
buf_lp.add(gdstk.Reference(nmoshv_1, (23.43,12.8)))
buf_lp.add(gdstk.Reference(ntap1_5, (47.845,22.815), rotation=pi))
buf_lp.add(gdstk.Reference(via_15, (44.815,15.04)))
buf_lp.add(gdstk.Reference(via_7, (42.83,16.06), rotation=3*pi/2))
buf_lp.add(gdstk.Reference(via_15, (44.025,15.04)))
buf_lp.add(gdstk.Reference(via_15, (40.11,15.04)))
buf_lp.add(gdstk.Reference(via_15, (39.32,15.04)))
buf_lp.add(gdstk.Reference(via_15, (41.685,15.04)))
buf_lp.add(gdstk.Reference(via_15, (40.895,15.04)))
buf_lp.add(gdstk.Reference(via_15, (36.99,15.04)))
buf_lp.add(gdstk.Reference(via_15, (36.2,15.04)))
buf_lp.add(gdstk.Reference(via_15, (38.565,15.04)))
buf_lp.add(gdstk.Reference(via_15, (37.775,15.04)))
buf_lp.add(gdstk.Reference(via_15, (33.88,15.04)))
buf_lp.add(gdstk.Reference(via_15, (33.09,15.04)))
buf_lp.add(gdstk.Reference(via_15, (35.455,15.04)))
buf_lp.add(gdstk.Reference(via_15, (34.665,15.04)))
buf_lp.add(gdstk.Reference(via_7, (41.27,16.06), rotation=3*pi/2))
buf_lp.add(gdstk.Reference(via_15, (43.24,15.04)))
buf_lp.add(gdstk.Reference(via_15, (32.335,15.04)))
buf_lp.add(gdstk.Reference(via_15, (31.545,15.04)))
buf_lp.add(gdstk.Reference(via_15, (42.45,15.04)))
buf_lp.add(gdstk.Reference(via_7, (39.71,16.06), rotation=3*pi/2))
buf_lp.add(gdstk.Reference(via_4, (31.91,15.855), rotation=3*pi/2))
buf_lp.add(gdstk.Reference(via_7, (38.15,16.06), rotation=3*pi/2))
buf_lp.add(gdstk.Reference(via_7, (36.59,16.06), rotation=3*pi/2))
buf_lp.add(gdstk.Reference(via_7, (44.39,16.06), rotation=3*pi/2))
buf_lp.add(gdstk.Reference(pmoshv_5, (32.54,15.3)))
buf_lp.add(gdstk.Reference(via_7, (35.03,16.06), rotation=3*pi/2))
buf_lp.add(gdstk.Reference(via_7, (33.47,16.06), rotation=3*pi/2))
buf_lp.add(gdstk.Reference(via_3_1, (19.43,15.65), rotation=3*pi/2))
buf_lp.add(gdstk.Reference(via_15, (22.175,15.04)))
buf_lp.add(gdstk.Reference(via_3_1, (22.55,15.65), rotation=3*pi/2))
buf_lp.add(gdstk.Reference(via_15, (27.63,15.04)))
buf_lp.add(gdstk.Reference(via_4, (28.79,15.855), rotation=3*pi/2))
buf_lp.add(gdstk.Reference(via_3_1, (20.99,15.65), rotation=3*pi/2))
buf_lp.add(gdstk.Reference(via_15, (26.84,15.04)))
buf_lp.add(gdstk.Reference(via_4, (27.23,15.855), rotation=3*pi/2))
buf_lp.add(gdstk.Reference(via_8_1, (21.77,15.65)))
buf_lp.add(gdstk.Reference(via_4, (30.35,15.855), rotation=3*pi/2))
buf_lp.add(gdstk.Reference(via_4, (25.67,15.855), rotation=3*pi/2))
buf_lp.add(gdstk.Reference(via_3_1, (20.99,15.65), rotation=3*pi/2))
buf_lp.add(gdstk.Reference(via_15, (21.39,15.04)))
buf_lp.add(gdstk.Reference(via_15, (28.415,15.04)))
buf_lp.add(gdstk.Reference(via_15, (24.51,15.04)))
buf_lp.add(gdstk.Reference(via_15, (23.72,15.04)))
buf_lp.add(gdstk.Reference(via_15, (26.085,15.04)))
buf_lp.add(gdstk.Reference(via_15, (25.295,15.04)))
buf_lp.add(gdstk.Reference(via_15, (18.27,15.04)))
buf_lp.add(gdstk.Reference(via_15, (17.48,15.04)))
buf_lp.add(gdstk.Reference(via_15, (19.845,15.04)))
buf_lp.add(gdstk.Reference(via_15, (19.055,15.04)))
buf_lp.add(gdstk.Reference(via_15, (15.93,15.04)))
buf_lp.add(gdstk.Reference(via_3_1, (19.43,15.65), rotation=3*pi/2))
buf_lp.add(gdstk.Reference(via_3_1, (22.55,15.65), rotation=3*pi/2))
buf_lp.add(gdstk.Reference(via_3_1, (22.55,15.65), rotation=3*pi/2))
buf_lp.add(gdstk.Reference(via_3_1, (17.87,15.65), rotation=3*pi/2))
buf_lp.add(gdstk.Reference(via_15, (15.145,15.04)))
buf_lp.add(gdstk.Reference(via_15, (14.355,15.04)))
buf_lp.add(gdstk.Reference(pmoshv, (13.82,15.3)))
buf_lp.add(gdstk.Reference(via_15, (16.72,15.04)))
buf_lp.add(gdstk.Reference(via_3_1, (20.99,15.65), rotation=3*pi/2))
buf_lp.add(gdstk.Reference(via_3_1, (22.55,15.65), rotation=3*pi/2))
buf_lp.add(gdstk.Reference(via_15, (29.205,15.04)))
buf_lp.add(gdstk.Reference(via_3_1, (20.99,15.65), rotation=3*pi/2))
buf_lp.add(gdstk.Reference(via_4, (24.11,15.855), rotation=3*pi/2))
buf_lp.add(gdstk.Reference(via_15, (29.97,15.04)))
buf_lp.add(gdstk.Reference(via_15, (20.6,15.04)))
buf_lp.add(gdstk.Reference(via_15, (22.965,15.04)))
buf_lp.add(gdstk.Reference(via_3_1, (16.31,15.65), rotation=3*pi/2))
buf_lp.add(gdstk.Reference(via_3_1, (14.75,15.65), rotation=3*pi/2))
buf_lp.add(gdstk.Reference(via_6, (15.28,15.65)))
buf_lp.add(gdstk.Reference(pmoshv_7, (16.94,15.3)))
buf_lp.add(gdstk.Reference(via_3_1, (17.87,15.65), rotation=3*pi/2))
buf_lp.add(gdstk.Reference(via_15, (14.04,13.56)))
buf_lp.add(gdstk.Reference(via_15, (14.87,13.56)))
buf_lp.add(gdstk.Reference(via_15, (15.72,13.56)))
buf_lp.add(gdstk.Reference(via_8_1, (21.72,12.95)))
buf_lp.add(gdstk.Reference(via_15, (16.55,13.56)))
buf_lp.add(gdstk.Reference(nmoshv_5, (16.79,12.8)))
buf_lp.add(gdstk.Reference(via_15, (19.03,13.56)))
buf_lp.add(gdstk.Reference(via_15, (18.18,13.56)))
buf_lp.add(gdstk.Reference(via_15, (23.2,13.56)))
buf_lp.add(gdstk.Reference(via_15, (17.35,13.56)))
buf_lp.add(gdstk.Reference(via_15, (22.37,13.56)))
buf_lp.add(gdstk.Reference(via_3_1, (14.45,12.95), rotation=3*pi/2))
buf_lp.add(gdstk.Reference(via_15, (21.52,13.56)))
buf_lp.add(gdstk.Reference(via_15, (20.69,13.56)))
buf_lp.add(gdstk.Reference(via_15, (19.86,13.56)))
buf_lp.add(gdstk.Reference(via_15, (29.01,13.56)))
buf_lp.add(gdstk.Reference(via_15, (28.16,13.56)))
buf_lp.add(gdstk.Reference(via_15, (27.33,13.56)))
buf_lp.add(gdstk.Reference(via_15, (26.5,13.56)))
buf_lp.add(gdstk.Reference(via_3_1, (21.09,12.95), rotation=3*pi/2))
buf_lp.add(gdstk.Reference(via_6, (15.28,12.945)))
buf_lp.add(gdstk.Reference(via_6, (15.28,14.28)))
buf_lp.add(gdstk.Reference(via_9_1, (17.695,14.28)))
buf_lp.add(gdstk.Reference(via_3_1, (22.75,12.95), rotation=3*pi/2))
buf_lp.add(gdstk.Reference(via_10_1, (25.03,14.28)))
buf_lp.add(gdstk.Reference(via_3_1, (16.11,12.95), rotation=3*pi/2))
buf_lp.add(gdstk.Reference(via_3_1, (22.75,12.95), rotation=3*pi/2))
buf_lp.add(gdstk.Reference(via_3_1, (19.43,12.95), rotation=3*pi/2))
buf_lp.add(gdstk.Reference(via_15, (25.67,13.56)))
buf_lp.add(gdstk.Reference(via_15, (24.82,13.56)))
buf_lp.add(gdstk.Reference(via_15, (23.99,13.56)))
buf_lp.add(gdstk.Reference(via_4, (24.41,12.745), rotation=3*pi/2))
buf_lp.add(gdstk.Reference(via_15, (29.84,13.56)))
buf_lp.add(gdstk.Reference(nmoshv, (13.47,12.8)))
buf_lp.add(gdstk.Reference(via_3_1, (21.09,12.95), rotation=3*pi/2))
buf_lp.add(gdstk.Reference(via_3_1, (14.15,14.29)))
buf_lp.add(gdstk.Reference(via_4, (26.07,12.745), rotation=3*pi/2))
buf_lp.add(gdstk.Reference(via_3_1, (17.77,12.95), rotation=3*pi/2))
buf_lp.add(gdstk.Reference(via_4, (27.73,12.745), rotation=3*pi/2))
buf_lp.add(gdstk.Reference(via_4, (29.39,12.745), rotation=3*pi/2))
buf_lp.add(gdstk.Reference(via_3_1, (19.43,12.95), rotation=3*pi/2))
buf_lp.add(gdstk.Reference(via_3_1, (17.77,12.95), rotation=3*pi/2))
buf_lp.add(gdstk.Reference(via_15, (40.61,13.56)))
buf_lp.add(gdstk.Reference(via_7, (41.01,12.54), rotation=3*pi/2))
buf_lp.add(gdstk.Reference(via_15, (39.78,13.56)))
buf_lp.add(gdstk.Reference(via_15, (38.95,13.56)))
buf_lp.add(gdstk.Reference(via_7, (44.33,12.54), rotation=3*pi/2))
buf_lp.add(gdstk.Reference(via_15, (38.1,13.56)))
buf_lp.add(gdstk.Reference(via_7, (36.03,12.54), rotation=3*pi/2))
buf_lp.add(gdstk.Reference(via_15, (37.27,13.56)))
buf_lp.add(gdstk.Reference(via_15, (36.45,13.56)))
buf_lp.add(gdstk.Reference(via_15, (35.62,13.56)))
buf_lp.add(gdstk.Reference(via_4, (31.05,12.745), rotation=3*pi/2))
buf_lp.add(gdstk.Reference(via_15, (34.77,13.56)))
buf_lp.add(gdstk.Reference(via_15, (33.94,13.56)))
buf_lp.add(gdstk.Reference(via_4, (32.705,12.745), rotation=3*pi/2))
buf_lp.add(gdstk.Reference(via_15, (33.11,13.56)))
buf_lp.add(gdstk.Reference(via_15, (32.28,13.56)))
buf_lp.add(gdstk.Reference(via_15, (31.43,13.56)))
buf_lp.add(gdstk.Reference(via_7, (34.37,12.54), rotation=3*pi/2))
buf_lp.add(gdstk.Reference(via_15, (44.71,13.56)))
buf_lp.add(gdstk.Reference(via_7, (45.99,12.54), rotation=3*pi/2))
buf_lp.add(gdstk.Reference(nmoshv_3, (33.39,12.8)))
buf_lp.add(gdstk.Reference(via_15, (43.88,13.56)))
buf_lp.add(gdstk.Reference(via_15, (46.39,13.56)))
buf_lp.add(gdstk.Reference(via_15, (45.56,13.56)))
buf_lp.add(gdstk.Reference(via_7, (39.35,12.54), rotation=3*pi/2))
buf_lp.add(gdstk.Reference(via_15, (43.12,13.56)))
buf_lp.add(gdstk.Reference(via_7, (42.67,12.54), rotation=3*pi/2))
buf_lp.add(gdstk.Reference(via_15, (42.29,13.56)))
buf_lp.add(gdstk.Reference(via_15, (41.44,13.56)))
buf_lp.add(gdstk.Reference(via_7, (37.69,12.54), rotation=3*pi/2))
buf_lp.add(gdstk.Label('gnd', (13.525,6.15), layer=8, texttype=25))
buf_lp.add(gdstk.Label('vdd', (13.86,22.39), layer=8, texttype=25))
buf_lp.add(gdstk.Label('OUT', (43.055,14.275), layer=10, texttype=25))
buf_lp.add(gdstk.Label('INPUT', (13.92,14.28), layer=10, texttype=25))

lib.write_gds('buf_lp.gds')
